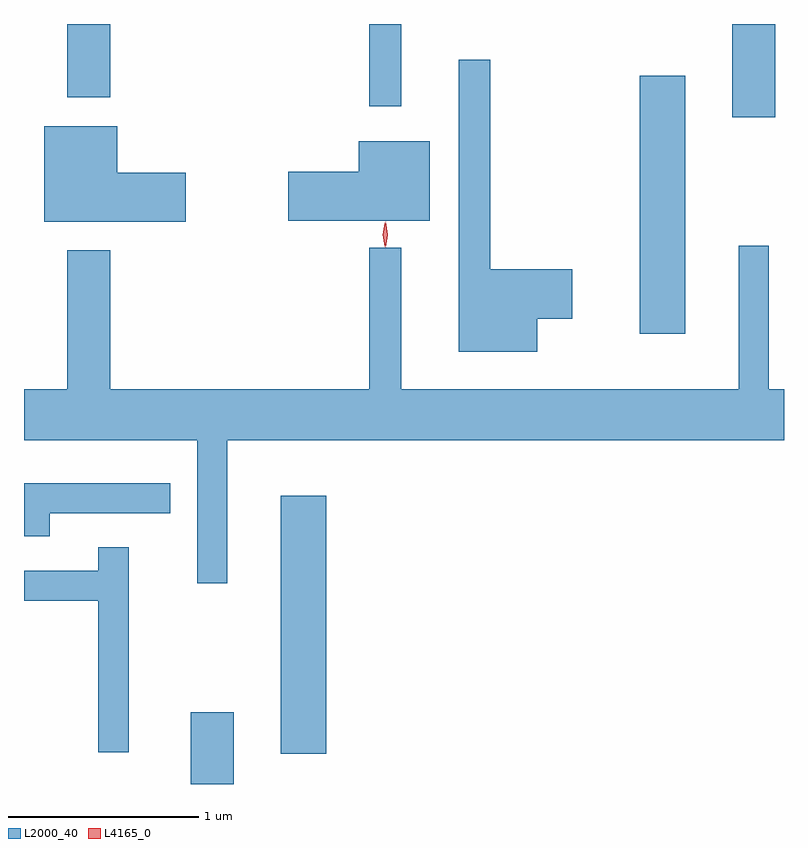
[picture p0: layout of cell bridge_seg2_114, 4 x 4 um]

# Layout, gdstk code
import gdstk
lib = gdstk.Library(unit=1e-6, precision=1e-09)
def R(c, l, rs):  # rectangles x0, y0, x1, y1
    for r in rs: c.add(gdstk.rectangle(r[:2], r[2:], *l))
def P(c, l, *ps):  # polygons
    for p in ps: c.add(gdstk.Polygon(p, *l))
L2000_40 = (2000, 40)
L4165_0 = (4165, 0)

bridge_seg2_114 = lib.new_cell('bridge_seg2_114')
R(bridge_seg2_114, L2000_40, [(916.671,1064.266,916.899,1064.644), (917.146,1064.426,917.384,1065.784), (919.036,1066.636,919.274,1067.994), (919.521,1067.776,919.749,1068.266), (917.611,1067.833,917.779,1068.266), (916.021,1067.881,916.249,1068.266)])
P(bridge_seg2_114, L2000_40, [(918.494,1066.716),(918.679,1066.716),(918.679,1066.974),(918.249,1066.974),(918.249,1068.078),(918.081,1068.078),(918.081,1066.541),(918.494,1066.541)],
  [(916.644,1067.484),(916.284,1067.484),(916.284,1067.729),(915.901,1067.729),(915.901,1067.226),(916.644,1067.226)],
  [(917.929,1067.649),(917.556,1067.649),(917.556,1067.489),(917.186,1067.489),(917.186,1067.231),(917.929,1067.231)],
  [(919.794,1066.344),(919.714,1066.344),(919.714,1067.098),(919.556,1067.098),(919.556,1066.344),(917.779,1066.344),(917.779,1067.088),(917.611,1067.088),(917.611,1066.344),(916.249,1066.344),(916.249,1067.074),(916.021,1067.074),(916.021,1066.344),(915.794,1066.344),(915.794,1066.076),(916.706,1066.076),(916.706,1065.323),(916.864,1065.323),(916.864,1066.076),(919.794,1066.076)],
  [(915.929,1065.691),(916.563,1065.691),(916.563,1065.849),(915.794,1065.849),(915.794,1065.571),(915.929,1065.571)],
  [(916.344,1065.513),(916.186,1065.513),(916.186,1065.389),(915.794,1065.389),(915.794,1065.231),(916.186,1065.231),(916.186,1064.433),(916.344,1064.433)])
P(bridge_seg2_114, L4165_0, [(917.697,1067.09),(917.697,1067.09),(917.688,1067.158),(917.698,1067.226),(917.699,1067.226),(917.699,1067.226),(917.708,1067.158),(917.698,1067.09)],
  [(917.692,1067.093),(917.692,1067.093),(917.682,1067.156),(917.692,1067.219),(917.692,1067.22),(917.693,1067.219),(917.702,1067.156),(917.693,1067.093)])

lib.write_gds('bridge_seg2_114.gds')
